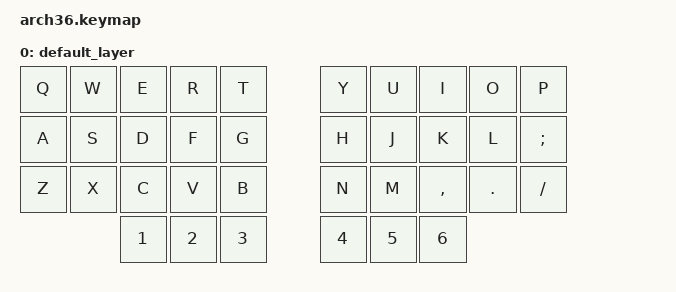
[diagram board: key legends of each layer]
#include <behaviors.dtsi>
#include <dt-bindings/zmk/keys.h>

/ {
	keymap {
		compatible = "zmk,keymap";

		default_layer {
			bindings = <
	&kp Q &kp W &kp E &kp R &kp T                      &kp Y &kp U  &kp I    &kp O   &kp P   
	&kp A &kp S &kp D &kp F &kp G                      &kp H &kp J  &kp K    &kp L   &kp SCLN
	&kp Z &kp X &kp C &kp V &kp B                      &kp N &kp M  &kp CMMA &kp DOT &kp FSLH
	            &kp NUM_1 &kp NUM_2 &kp NUM_3      &kp NUM_4 &kp NUM_5  &kp NUM_6
			>;
		};
	};

};


&oled {
	compatible = "solomon,ssd1306fb";
	reg = <0x3c>;
	label = "DISPLAY";
	width = <128>;
	height = <64>;
	segment-offset = <0>;
	page-offset = <0>;
	display-offset = <0>;
	multiplex-ratio = <63>;
	prechargep = <0x22>;
	// // upside-down oled screen
	com-invdir;
	segment-remap;
};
